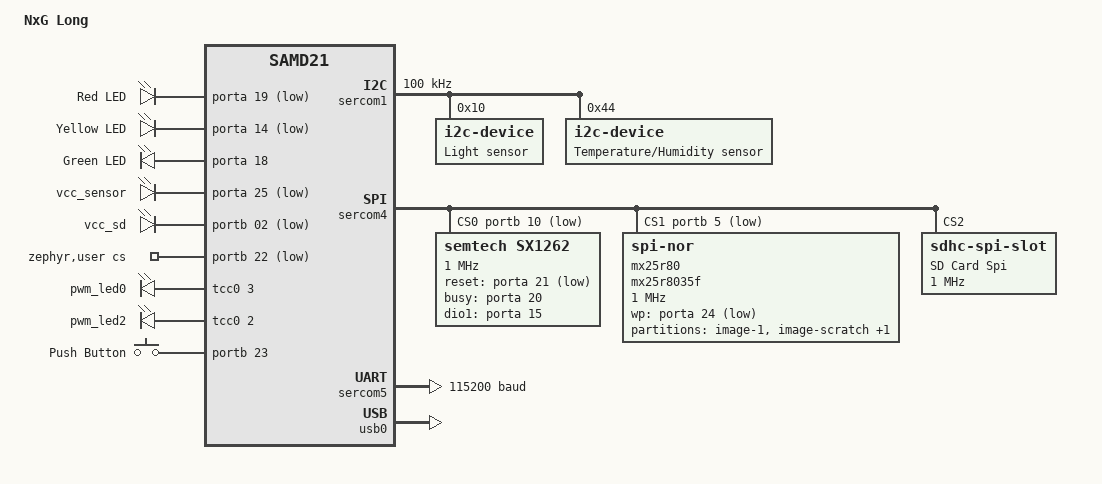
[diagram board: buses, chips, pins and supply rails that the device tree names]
/dts-v1/;
#include <freq.h>
#include <atmel/samd21.dtsi>
#include <atmel/samx2xx18.dtsi>
#include "nxg_long.dtsi"
#include <zephyr/dt-bindings/input/input-event-codes.h>

/ {
	model = "NxG Long";
	compatible = "nxg,long", "atmel,samd21j18a", "atmel,samd21";

	chosen {
		zephyr,console = &sercom5;
		zephyr,shell-uart = &sercom5;
		zephyr,sram = &sram0;
		zephyr,flash = &flash0;
		zephyr,code-partition = &slot0_partition;
	};

	aliases {
		led0 = &led0;
		led1 = &led1;
		led2 = &led2;
		pwm-led0 = &pwm_led0;
		pwm-led2 = &pwm_led2;
		sw0 = &push_button;
		i2c-0 = &sercom1;
		lora0 = &lora0;
	};

	leds: leds {
		compatible = "gpio-leds";
		led0: led_0 {
			gpios = <&porta 19 GPIO_ACTIVE_LOW>;
			label = "Red LED";
		};
		led1: led_1 {
			gpios = <&porta 14 GPIO_ACTIVE_LOW>;
			label = "Yellow LED";
		};
		led2: led_2 {
			gpios = <&porta 18 GPIO_ACTIVE_HIGH>;
			label = "Green LED";
		};
	};
	vcc {
		compatible = "gpio-leds";
		vcc_sensor: vcc_sensor {
			gpios = <&porta 25 GPIO_ACTIVE_LOW>;
		};
		vcc_sd: vcc_sd {
			gpios = <&portb 02 GPIO_ACTIVE_LOW>;
		};
	};
	zephyr,user {
		cs-gpios = <&portb 22 GPIO_ACTIVE_LOW>;
	};

	pwmleds: pwmleds {
		compatible = "pwm-leds";
		pwm_led0: pwm_led_0 {
			pwms = <&tcc0 3 PWM_MSEC(20)>; // Need to invert polarity, but samd21 doesn't support it
		};
		pwm_led2: pwm_led_2 {
			pwms = <&tcc0 2 PWM_MSEC(20)>;
		};
	};

	buttons {
		compatible = "gpio-keys";
		push_button: button_0 {
			gpios = <&portb 23 (GPIO_PULL_UP | GPIO_ACTIVE_HIGH)>;
			label = "Push Button";
			zephyr,code = <INPUT_KEY_0>;
		};
	};
};

&cpu0 {
	clock-frequency = <DT_FREQ_M(8)>;
};

&tcc0 {
	status = "disabled";
	compatible = "atmel,sam0-tcc-pwm";
	/* Gives a maximum period of 1.4s */
	prescaler = <4>;
	#pwm-cells = <2>;

	pinctrl-0 = <&pwm_default>;
	pinctrl-names = "default";
};

&rtc {
	status = "disabled";
	counter-mode = "clock";
	prescaler = <1024>;
};

&sercom0 {
	status = "disabled";
};

&sercom1 {
	status = "okay";
	compatible = "atmel,sam0-i2c";
	clock-frequency = <I2C_BITRATE_STANDARD>;
	#address-cells = <1>;
	#size-cells = <0>;

	pinctrl-0 = <&sercom1_i2c_default>;
	pinctrl-names = "default";

	lum_sensor: lum_sensor@10 {
		compatible = "i2c-device";
		label = "Light sensor";
		reg = <0x10>;
	};
	temp_sensor: temp_sensor@44 {
		compatible = "i2c-device";
		label = "Temperature/Humidity sensor";
		reg = <0x44>;
	};
};

&sercom2 {
	status = "disabled";
};

&sercom3 {
	status = "disabled";
};

&sercom4 {
	status = "okay";
	compatible = "atmel,sam0-spi";
	dipo = <3>;
	dopo = <0>;
	#address-cells = <1>;
	#size-cells = <0>;

	pinctrl-0 = <&sercom4_spi_default>;
	pinctrl-names = "default";
	cs-gpios = <&portb 10 GPIO_ACTIVE_LOW>, <&portb 5 GPIO_ACTIVE_LOW>;

	lora0: sx1262@0 {
		compatible = "semtech,sx1262";
    	reg = <0>;
		status = "okay";

        spi-max-frequency = <1000000>;
		label = "SX1262";
        reset-gpios = <&porta 21 GPIO_ACTIVE_LOW>;
        busy-gpios = <&porta 20 GPIO_ACTIVE_HIGH>;
        dio1-gpios = <&porta 15 GPIO_ACTIVE_HIGH>;
		dio2-tx-enable;
	};

	mx25r80: mx25r8035f@1 {
		status = "okay";
		compatible = "jedec,spi-nor";
		reg = < 1 >;
		wp-gpios = <&porta 24 GPIO_ACTIVE_LOW>;
		spi-max-frequency = < 1000000 >;
		has-dpd;
		dpd-wakeup-sequence = <30000 20 35000>;
		t-enter-dpd = <10000>;
		t-exit-dpd = <35000>;
		mxicy,mx25r-power-mode = "low-power";
		jedec-id = [ C2 28 14 ];
		size = <DT_SIZE_M(8)>;

		partitions {
			compatible = "fixed-partitions";
			#address-cells = < 0x1 >;
			#size-cells = < 0x1 >;
			slot1_partition: partition@0 {
				label = "image-1";
				reg = < 0x0 DT_SIZE_K(220) >;
			};
			scratch_partition: partition@37000 {
				label = "image-scratch";
				reg = < 0x37000 DT_SIZE_K(64) >;
			};
			storage_partition: partition@47000 {
				label = "storage";
				reg = <0x47000 DT_SIZE_K(8)>;
			};
		};
	};

	sd_card: sd_card@2 {
		compatible = "zephyr,sdhc-spi-slot";
		label = "SD Card Spi";
		reg = <2>;
		status = "okay";
		mmc {
			compatible = "zephyr,sdmmc-disk";
			disk-name = "SD";
			status = "okay";
		};
		spi-max-frequency = <1000000>;
	};
};

&sercom5 {
	status = "okay";
	compatible = "atmel,sam0-uart";
	current-speed = <115200>;
	rxpo = <1>;
	txpo = <0>;

	pinctrl-0 = <&sercom5_uart_default>;
	pinctrl-names = "default";
};

zephyr_udc0: &usb0 {
	status = "okay";

	pinctrl-0 = <&usb_dc_default>;
	pinctrl-names = "default";
};

&flash0 {
	erase-block-size = < 0x100 >;
	partitions {
		compatible = "fixed-partitions";
		#address-cells = < 0x1 >;
		#size-cells = < 0x1 >;
		boot_partition: partition@0 {
			label = "mcuboot";
			reg = < 0x0 DT_SIZE_K(32) >;
			read-only;
		};
		slot0_partition: partition@8000 {
			label = "image-0";
			reg = < 0x8000 DT_SIZE_K(220) >;
		};
	};
};
